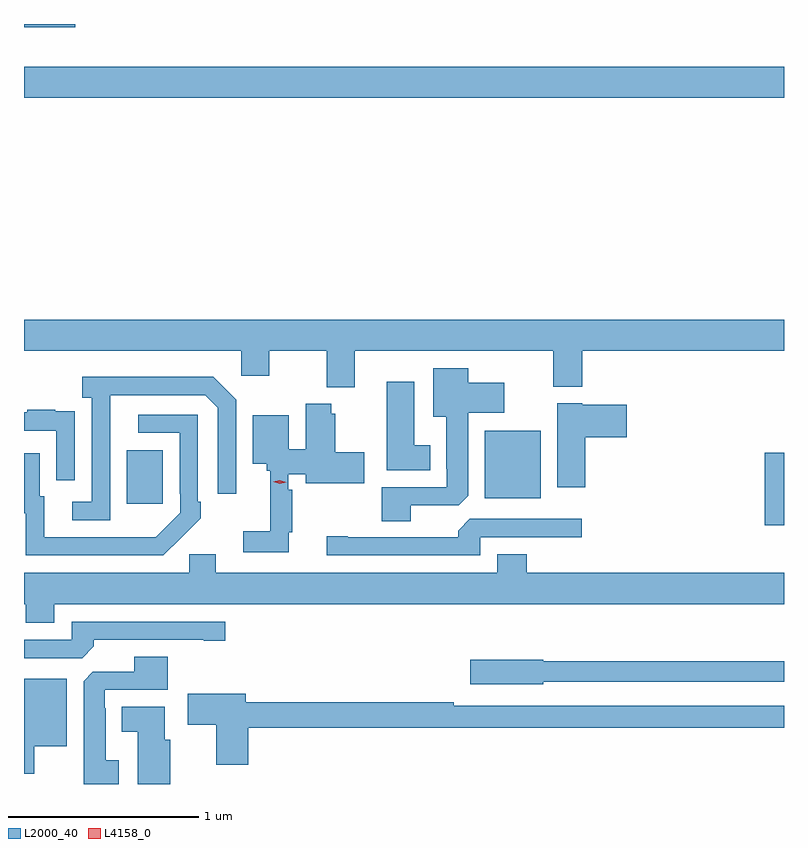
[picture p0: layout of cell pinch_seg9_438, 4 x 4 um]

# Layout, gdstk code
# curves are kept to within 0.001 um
import gdstk
lib = gdstk.Library(unit=1e-6, precision=1e-09)
def R(c, l, rs):  # rectangles x0, y0, x1, y1
    for r in rs: c.add(gdstk.rectangle(r[:2], r[2:], *l))
def P(c, l, *ps):  # polygons
    for p in ps: c.add(gdstk.Polygon(p, *l))
L2000_40 = (2000, 40)
L4158_0 = (4158, 0)

pinch_seg9_438 = lib.new_cell('pinch_seg9_438')
R(pinch_seg9_438, L2000_40, [(164.666,1203.495,164.767,1203.876), (161.309,1203.609,161.497,1203.889), (163.193,1203.638,163.486,1203.991), (160.767,1205.744,164.767,1205.908), (160.767,1206.117,161.038,1206.133)])
P(pinch_seg9_438, L2000_40, [(162.508,1204.412),(163.553,1204.412),(163.553,1204.223),(163.706,1204.223),(163.706,1204.412),(164.767,1204.412),(164.767,1204.576),(160.767,1204.576),(160.767,1204.412),(161.91,1204.412),(161.91,1204.281),(162.057,1204.281),(162.057,1204.412),(162.361,1204.412),(162.361,1204.22),(162.508,1204.22)],
  [(162.802,1203.6),(163.056,1203.6),(163.105,1203.649),(163.105,1204.088),(163.294,1204.088),(163.294,1204.246),(163.105,1204.246),(163.105,1204.321),(162.92,1204.321),(162.92,1204.067),(162.989,1204.067),(162.989,1203.793),(162.993,1203.793),(162.993,1203.696),(162.65,1203.696),(162.65,1203.517),(162.802,1203.517)],
  [(161.22,1204.179),(161.721,1204.179),(161.787,1204.113),(161.787,1203.66),(161.883,1203.66),(161.883,1204.155),(161.762,1204.276),(161.073,1204.276),(161.073,1204.166),(161.124,1204.166),(161.124,1203.618),(161.022,1203.618),(161.022,1203.522),(161.22,1203.522)],
  [(162.904,1203.916),(162.82,1203.916),(162.82,1204.249),(162.677,1204.249),(162.677,1203.785),(162.904,1203.785)],
  [(163.721,1203.959),(163.939,1203.959),(163.939,1204.129),(163.704,1204.129),(163.704,1204.138),(163.574,1204.138),(163.574,1203.696),(163.721,1203.696)],
  [(162.161,1203.457),(162.178,1203.457),(162.178,1203.683),(162.159,1203.683),(162.159,1203.764),(162.251,1203.764),(162.251,1203.716),(162.559,1203.716),(162.559,1203.879),(162.406,1203.879),(162.406,1204.081),(162.384,1204.081),(162.384,1204.135),(162.251,1204.135),(162.251,1203.896),(162.16,1203.896),(162.16,1204.075),(161.972,1204.075),(161.972,1203.818),(162.044,1203.818),(162.044,1203.783),(162.062,1203.783),(162.062,1203.463),(161.922,1203.463),(161.922,1203.354),(162.161,1203.354)],
  [(161.034,1203.986),(161.033,1203.986),(161.033,1204.095),(160.931,1204.095),(160.931,1204.102),(160.783,1204.102),(160.783,1204.089),(160.767,1204.089),(160.767,1203.993),(160.938,1203.993),(160.938,1203.732),(161.034,1203.732)],
  [(161.591,1203.427),(161.592,1203.426),(161.697,1203.531),(161.697,1203.619),(161.682,1203.619),(161.682,1204.077),(161.367,1204.077),(161.367,1203.981),(161.586,1203.981),(161.586,1203.661),(161.589,1203.661),(161.589,1203.561),(161.461,1203.433),(160.873,1203.432),(160.873,1203.648),(160.849,1203.648),(160.849,1203.874),(160.767,1203.874),(160.767,1203.558),(160.776,1203.558),(160.776,1203.336),(161.5,1203.336)],
  [(163.167,1203.432),(163.702,1203.432),(163.702,1203.528),(163.113,1203.528),(163.052,1203.466),(163.052,1203.432),(162.472,1203.432),(162.472,1203.437),(162.36,1203.437),(162.36,1203.336),(163.167,1203.336)],
  [(160.927,1203.08),(164.767,1203.08),(164.767,1203.244),(163.412,1203.244),(163.412,1203.343),(163.259,1203.343),(163.259,1203.244),(161.776,1203.244),(161.776,1203.342),(161.637,1203.342),(161.637,1203.244),(160.767,1203.244),(160.767,1203.08),(160.775,1203.08),(160.775,1202.981),(160.927,1202.981)],
  [(161.135,1202.858),(161.135,1202.892),(161.714,1202.892),(161.714,1202.887),(161.827,1202.887),(161.827,1202.988),(161.019,1202.988),(161.019,1202.892),(160.767,1202.892),(160.767,1202.796),(161.073,1202.796)],
  [(161.266,1202.257),(161.197,1202.257),(161.197,1202.531),(161.193,1202.531),(161.193,1202.628),(161.524,1202.628),(161.524,1202.803),(161.348,1202.803),(161.348,1202.724),(161.13,1202.724),(161.081,1202.675),(161.081,1202.133),(161.266,1202.133)],
  [(163.5,1202.67),(164.767,1202.67),(164.767,1202.779),(163.5,1202.779),(163.5,1202.787),(163.116,1202.787),(163.116,1202.657),(163.5,1202.657)],
  [(160.822,1202.333),(160.993,1202.333),(160.993,1202.686),(160.767,1202.686),(160.767,1202.187),(160.822,1202.187)],
  [(161.948,1202.428),(164.767,1202.428),(164.767,1202.544),(163.028,1202.544),(163.028,1202.564),(161.935,1202.564),(161.935,1202.608),(161.628,1202.608),(161.628,1202.446),(161.78,1202.446),(161.78,1202.235),(161.948,1202.235)],
  [(161.536,1202.367),(161.509,1202.367),(161.509,1202.539),(161.282,1202.539),(161.282,1202.408),(161.366,1202.408),(161.366,1202.133),(161.536,1202.133)])
P(pinch_seg9_438, L4158_0, [(162.112,1203.712),(162.078,1203.723),(162.078,1203.723),(162.078,1203.723),(162.113,1203.732),(162.148,1203.72),(162.148,1203.72),(162.148,1203.72)])

lib.write_gds('pinch_seg9_438.gds')
